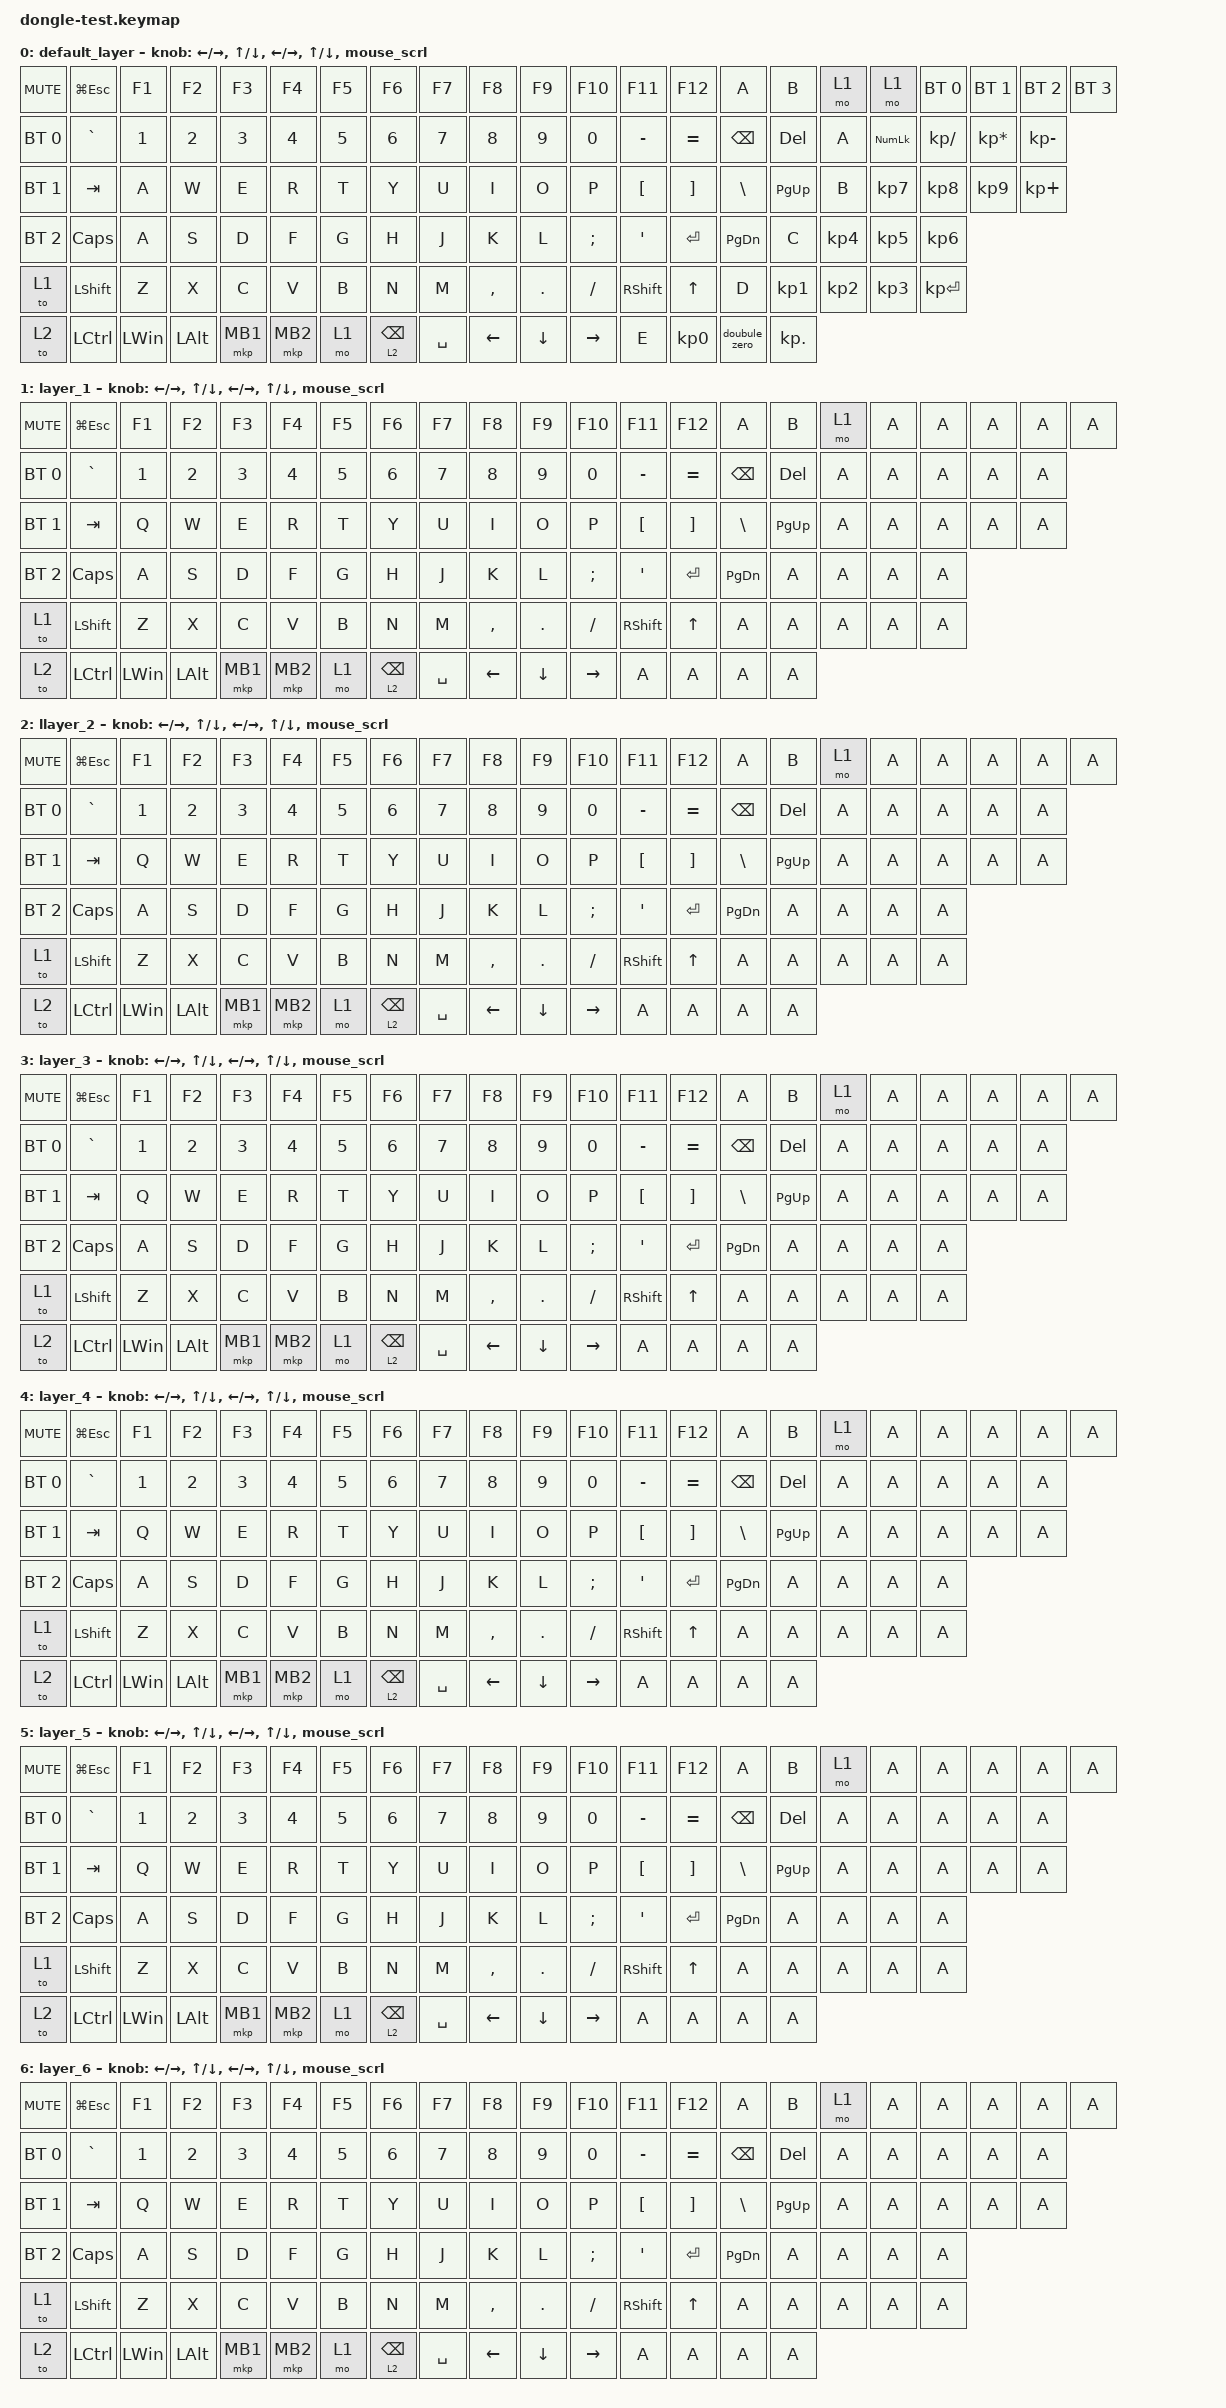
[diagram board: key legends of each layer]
#include <dt-bindings/zmk/mouse.h>
#include <input/processors.dtsi>
#include <dt-bindings/zmk/input_transform.h>
#include <behaviors.dtsi>
#include <dt-bindings/zmk/bt.h>
#include <dt-bindings/zmk/keys.h>
#include <dt-bindings/zmk/pointing.h>

&trackball_listener {
    /* * デフォルトの挙動（以下の条件に当てはまらない時）
     * 3/2 = 1.5倍速。少し加速させる設定です。
     */

    input-processors = <&zip_xy_scaler 3 2>;

    /* Snipe（スナイプ）モード: 精密操作 */

    snipe {
        layers = <3>; // レイヤー3が有効な時
        /* 1/2 = 0.5倍速。通常の半分の速度でゆっくり動かします */

        input-processors = <&zip_xy_scaler 1 2>;
    };

    /* Turbo（ターボ）モード: 高速移動 */

    turbo {
        layers = <2>; // レイヤー2が有効な時
        /* 5/2 = 2.5倍速。かなり速く動かします */

        input-processors = <&zip_xy_scaler 5 2>;
    };

    /* Scroller（スクロール）モード: トラックボールで画面スクロール */

    scroller {
        layers = <4>; // レイヤー4が有効な時
        /* カーソル移動をスクロール操作に変換します（速度は等倍） */

        input-processors = <&zip_xy_to_scroll_mapper>;
    };

    /* Scroller Warp: 高速スクロール */

    scroller_warp {
        layers = <5>; // レイヤー5が有効な時
        /* * 処理は左から順に適用されます。
         * 1. 4/1 = 4倍速にする
         * 2. その値をスクロール操作に変換する
         * 結果：爆速スクロールになります
         */

        input-processors = <&zip_xy_scaler 4 1>, <&zip_xy_to_scroll_mapper>;
    };

    /* Scroller Snipe: 精密スクロール */

    scroller_snipe {
        layers = <6>; // レイヤー6が有効な時
        /* * 1. 1/4 = 0.25倍速にする
         * 2. その値をスクロール操作に変換する
         * 結果：ゆっくり細かいスクロールになります
         */

        input-processors = <&zip_xy_scaler 1 4>, <&zip_xy_to_scroll_mapper>;
    };
};

/ {
    behaviors {
        mouse_scrl: mouse_scroll_sensor {
            compatible = "zmk,behavior-sensor-rotate";
            #sensor-binding-cells = <0>;
            bindings = <&msc SCRL_UP>, <&msc SCRL_DOWN>;

            tap-ms = <20>;
        };
    };

    macros {
        doubule_zero: doubule_zero {
            compatible = "zmk,behavior-macro";
            #binding-cells = <0>;
            bindings = <&kp N0 &kp N0>;
            label = "DOUBULE_ZERO";
        };
    };

    keymap {
        compatible = "zmk,keymap";

        default_layer {
            bindings = <
&kp C_MUTE    &kp LG(ESCAPE)  &kp F1        &kp F2        &kp F3        &kp F4        &kp F5  &kp F6           &kp F7     &kp F8     &kp F9      &kp F10          &kp F11           &kp F12            &kp A          &kp B       &mo 1      &mo 1       &bt BT_SEL 0  &bt BT_SEL 1     &bt BT_SEL 2  &bt BT_SEL 3
&bt BT_SEL 0  &kp GRAVE       &kp NUMBER_1  &kp NUMBER_2  &kp NUMBER_3  &kp NUMBER_4  &kp N5  &kp NUMBER_6     &kp N7     &kp N8     &kp N9      &kp N0           &kp MINUS         &kp EQUAL          &kp BACKSPACE  &kp DEL     &kp A      &kp KP_NUM  &kp KP_SLASH  &kp KP_ASTERISK  &kp KP_MINUS
&bt BT_SEL 1  &kp TAB         &kp A         &kp W         &kp E         &kp R         &kp T   &kp Y            &kp U      &kp I      &kp O       &kp P            &kp LEFT_BRACKET  &kp RIGHT_BRACKET  &kp BACKSLASH  &kp PG_UP   &kp B      &kp KP_N7   &kp KP_N8     &kp KP_N9        &kp KP_PLUS
&bt BT_SEL 2  &kp CAPSLOCK    &kp A         &kp S         &kp D         &kp F         &kp G   &kp H            &kp J      &kp K      &kp L       &kp SEMICOLON    &kp SQT           &kp ENTER          &kp PAGE_DOWN  &kp C       &kp KP_N4  &kp KP_N5   &kp KP_N6
&to 1         &kp LEFT_SHIFT  &kp Z         &kp X         &kp C         &kp V         &kp B   &kp N            &kp M      &kp COMMA  &kp PERIOD  &kp SLASH        &kp RSHIFT        &kp UP_ARROW       &kp D          &kp KP_N1   &kp KP_N2  &kp KP_N3   &kp KP_ENTER
&to 2         &kp LCTRL       &kp LEFT_WIN  &kp LEFT_ALT  &mkp MB1      &mkp MB2      &mo 1   &lt 2 BACKSPACE  &kp SPACE  &kp LEFT   &kp DOWN    &kp RIGHT_ARROW  &kp E             &kp KP_N0          &doubule_zero  &kp KP_DOT
            >;

            sensor-bindings =
                <&inc_dec_kp LEFT_ARROW RIGHT_ARROW>,
                <&inc_dec_kp UP_ARROW DOWN_ARROW>,
                <&inc_dec_kp LEFT_ARROW RIGHT_ARROW>,
                <&inc_dec_kp UP_ARROW DOWN_ARROW>,
                <&mouse_scrl>;
        };

        layer_1 {
            bindings = <
&kp C_MUTE    &kp LG(ESCAPE)  &kp F1        &kp F2        &kp F3        &kp F4        &kp F5  &kp F6           &kp F7     &kp F8     &kp F9      &kp F10          &kp F11           &kp F12            &kp A          &kp B      &mo 1  &kp A  &kp A  &kp A  &kp A  &kp A
&bt BT_SEL 0  &kp GRAVE       &kp NUMBER_1  &kp NUMBER_2  &kp NUMBER_3  &kp NUMBER_4  &kp N5  &kp NUMBER_6     &kp N7     &kp N8     &kp N9      &kp N0           &kp MINUS         &kp EQUAL          &kp BACKSPACE  &kp DEL    &kp A  &kp A  &kp A  &kp A  &kp A
&bt BT_SEL 1  &kp TAB         &kp Q         &kp W         &kp E         &kp R         &kp T   &kp Y            &kp U      &kp I      &kp O       &kp P            &kp LEFT_BRACKET  &kp RIGHT_BRACKET  &kp BACKSLASH  &kp PG_UP  &kp A  &kp A  &kp A  &kp A  &kp A
&bt BT_SEL 2  &kp CAPSLOCK    &kp A         &kp S         &kp D         &kp F         &kp G   &kp H            &kp J      &kp K      &kp L       &kp SEMICOLON    &kp SQT           &kp ENTER          &kp PAGE_DOWN  &kp A      &kp A  &kp A  &kp A
&to 1         &kp LEFT_SHIFT  &kp Z         &kp X         &kp C         &kp V         &kp B   &kp N            &kp M      &kp COMMA  &kp PERIOD  &kp SLASH        &kp RSHIFT        &kp UP_ARROW       &kp A          &kp A      &kp A  &kp A  &kp A
&to 2         &kp LCTRL       &kp LEFT_WIN  &kp LEFT_ALT  &mkp MB1      &mkp MB2      &mo 1   &lt 2 BACKSPACE  &kp SPACE  &kp LEFT   &kp DOWN    &kp RIGHT_ARROW  &kp A             &kp A              &kp A          &kp A
            >;

            sensor-bindings =
                <&inc_dec_kp LEFT_ARROW RIGHT_ARROW>,
                <&inc_dec_kp UP_ARROW DOWN_ARROW>,
                <&inc_dec_kp LEFT_ARROW RIGHT_ARROW>,
                <&inc_dec_kp UP_ARROW DOWN_ARROW>,
                <&mouse_scrl>;
        };

        llayer_2 {
            bindings = <
&kp C_MUTE    &kp LG(ESCAPE)  &kp F1        &kp F2        &kp F3        &kp F4        &kp F5  &kp F6           &kp F7     &kp F8     &kp F9      &kp F10          &kp F11           &kp F12            &kp A          &kp B      &mo 1  &kp A  &kp A  &kp A  &kp A  &kp A
&bt BT_SEL 0  &kp GRAVE       &kp NUMBER_1  &kp NUMBER_2  &kp NUMBER_3  &kp NUMBER_4  &kp N5  &kp NUMBER_6     &kp N7     &kp N8     &kp N9      &kp N0           &kp MINUS         &kp EQUAL          &kp BACKSPACE  &kp DEL    &kp A  &kp A  &kp A  &kp A  &kp A
&bt BT_SEL 1  &kp TAB         &kp Q         &kp W         &kp E         &kp R         &kp T   &kp Y            &kp U      &kp I      &kp O       &kp P            &kp LEFT_BRACKET  &kp RIGHT_BRACKET  &kp BACKSLASH  &kp PG_UP  &kp A  &kp A  &kp A  &kp A  &kp A
&bt BT_SEL 2  &kp CAPSLOCK    &kp A         &kp S         &kp D         &kp F         &kp G   &kp H            &kp J      &kp K      &kp L       &kp SEMICOLON    &kp SQT           &kp ENTER          &kp PAGE_DOWN  &kp A      &kp A  &kp A  &kp A
&to 1         &kp LEFT_SHIFT  &kp Z         &kp X         &kp C         &kp V         &kp B   &kp N            &kp M      &kp COMMA  &kp PERIOD  &kp SLASH        &kp RSHIFT        &kp UP_ARROW       &kp A          &kp A      &kp A  &kp A  &kp A
&to 2         &kp LCTRL       &kp LEFT_WIN  &kp LEFT_ALT  &mkp MB1      &mkp MB2      &mo 1   &lt 2 BACKSPACE  &kp SPACE  &kp LEFT   &kp DOWN    &kp RIGHT_ARROW  &kp A             &kp A              &kp A          &kp A
            >;

            sensor-bindings =
                <&inc_dec_kp LEFT_ARROW RIGHT_ARROW>,
                <&inc_dec_kp UP_ARROW DOWN_ARROW>,
                <&inc_dec_kp LEFT_ARROW RIGHT_ARROW>,
                <&inc_dec_kp UP_ARROW DOWN_ARROW>,
                <&mouse_scrl>;
        };

        layer_3 {
            bindings = <
&kp C_MUTE    &kp LG(ESCAPE)  &kp F1        &kp F2        &kp F3        &kp F4        &kp F5  &kp F6           &kp F7     &kp F8     &kp F9      &kp F10          &kp F11           &kp F12            &kp A          &kp B      &mo 1  &kp A  &kp A  &kp A  &kp A  &kp A
&bt BT_SEL 0  &kp GRAVE       &kp NUMBER_1  &kp NUMBER_2  &kp NUMBER_3  &kp NUMBER_4  &kp N5  &kp NUMBER_6     &kp N7     &kp N8     &kp N9      &kp N0           &kp MINUS         &kp EQUAL          &kp BACKSPACE  &kp DEL    &kp A  &kp A  &kp A  &kp A  &kp A
&bt BT_SEL 1  &kp TAB         &kp Q         &kp W         &kp E         &kp R         &kp T   &kp Y            &kp U      &kp I      &kp O       &kp P            &kp LEFT_BRACKET  &kp RIGHT_BRACKET  &kp BACKSLASH  &kp PG_UP  &kp A  &kp A  &kp A  &kp A  &kp A
&bt BT_SEL 2  &kp CAPSLOCK    &kp A         &kp S         &kp D         &kp F         &kp G   &kp H            &kp J      &kp K      &kp L       &kp SEMICOLON    &kp SQT           &kp ENTER          &kp PAGE_DOWN  &kp A      &kp A  &kp A  &kp A
&to 1         &kp LEFT_SHIFT  &kp Z         &kp X         &kp C         &kp V         &kp B   &kp N            &kp M      &kp COMMA  &kp PERIOD  &kp SLASH        &kp RSHIFT        &kp UP_ARROW       &kp A          &kp A      &kp A  &kp A  &kp A
&to 2         &kp LCTRL       &kp LEFT_WIN  &kp LEFT_ALT  &mkp MB1      &mkp MB2      &mo 1   &lt 2 BACKSPACE  &kp SPACE  &kp LEFT   &kp DOWN    &kp RIGHT_ARROW  &kp A             &kp A              &kp A          &kp A
            >;

            sensor-bindings =
                <&inc_dec_kp LEFT_ARROW RIGHT_ARROW>,
                <&inc_dec_kp UP_ARROW DOWN_ARROW>,
                <&inc_dec_kp LEFT_ARROW RIGHT_ARROW>,
                <&inc_dec_kp UP_ARROW DOWN_ARROW>,
                <&mouse_scrl>;
        };

        layer_4 {
            bindings = <
&kp C_MUTE    &kp LG(ESCAPE)  &kp F1        &kp F2        &kp F3        &kp F4        &kp F5  &kp F6           &kp F7     &kp F8     &kp F9      &kp F10          &kp F11           &kp F12            &kp A          &kp B      &mo 1  &kp A  &kp A  &kp A  &kp A  &kp A
&bt BT_SEL 0  &kp GRAVE       &kp NUMBER_1  &kp NUMBER_2  &kp NUMBER_3  &kp NUMBER_4  &kp N5  &kp NUMBER_6     &kp N7     &kp N8     &kp N9      &kp N0           &kp MINUS         &kp EQUAL          &kp BACKSPACE  &kp DEL    &kp A  &kp A  &kp A  &kp A  &kp A
&bt BT_SEL 1  &kp TAB         &kp Q         &kp W         &kp E         &kp R         &kp T   &kp Y            &kp U      &kp I      &kp O       &kp P            &kp LEFT_BRACKET  &kp RIGHT_BRACKET  &kp BACKSLASH  &kp PG_UP  &kp A  &kp A  &kp A  &kp A  &kp A
&bt BT_SEL 2  &kp CAPSLOCK    &kp A         &kp S         &kp D         &kp F         &kp G   &kp H            &kp J      &kp K      &kp L       &kp SEMICOLON    &kp SQT           &kp ENTER          &kp PAGE_DOWN  &kp A      &kp A  &kp A  &kp A
&to 1         &kp LEFT_SHIFT  &kp Z         &kp X         &kp C         &kp V         &kp B   &kp N            &kp M      &kp COMMA  &kp PERIOD  &kp SLASH        &kp RSHIFT        &kp UP_ARROW       &kp A          &kp A      &kp A  &kp A  &kp A
&to 2         &kp LCTRL       &kp LEFT_WIN  &kp LEFT_ALT  &mkp MB1      &mkp MB2      &mo 1   &lt 2 BACKSPACE  &kp SPACE  &kp LEFT   &kp DOWN    &kp RIGHT_ARROW  &kp A             &kp A              &kp A          &kp A
            >;

            sensor-bindings =
                <&inc_dec_kp LEFT_ARROW RIGHT_ARROW>,
                <&inc_dec_kp UP_ARROW DOWN_ARROW>,
                <&inc_dec_kp LEFT_ARROW RIGHT_ARROW>,
                <&inc_dec_kp UP_ARROW DOWN_ARROW>,
                <&mouse_scrl>;
        };

        layer_5 {
            bindings = <
&kp C_MUTE    &kp LG(ESCAPE)  &kp F1        &kp F2        &kp F3        &kp F4        &kp F5  &kp F6           &kp F7     &kp F8     &kp F9      &kp F10          &kp F11           &kp F12            &kp A          &kp B      &mo 1  &kp A  &kp A  &kp A  &kp A  &kp A
&bt BT_SEL 0  &kp GRAVE       &kp NUMBER_1  &kp NUMBER_2  &kp NUMBER_3  &kp NUMBER_4  &kp N5  &kp NUMBER_6     &kp N7     &kp N8     &kp N9      &kp N0           &kp MINUS         &kp EQUAL          &kp BACKSPACE  &kp DEL    &kp A  &kp A  &kp A  &kp A  &kp A
&bt BT_SEL 1  &kp TAB         &kp Q         &kp W         &kp E         &kp R         &kp T   &kp Y            &kp U      &kp I      &kp O       &kp P            &kp LEFT_BRACKET  &kp RIGHT_BRACKET  &kp BACKSLASH  &kp PG_UP  &kp A  &kp A  &kp A  &kp A  &kp A
&bt BT_SEL 2  &kp CAPSLOCK    &kp A         &kp S         &kp D         &kp F         &kp G   &kp H            &kp J      &kp K      &kp L       &kp SEMICOLON    &kp SQT           &kp ENTER          &kp PAGE_DOWN  &kp A      &kp A  &kp A  &kp A
&to 1         &kp LEFT_SHIFT  &kp Z         &kp X         &kp C         &kp V         &kp B   &kp N            &kp M      &kp COMMA  &kp PERIOD  &kp SLASH        &kp RSHIFT        &kp UP_ARROW       &kp A          &kp A      &kp A  &kp A  &kp A
&to 2         &kp LCTRL       &kp LEFT_WIN  &kp LEFT_ALT  &mkp MB1      &mkp MB2      &mo 1   &lt 2 BACKSPACE  &kp SPACE  &kp LEFT   &kp DOWN    &kp RIGHT_ARROW  &kp A             &kp A              &kp A          &kp A
            >;

            sensor-bindings =
                <&inc_dec_kp LEFT_ARROW RIGHT_ARROW>,
                <&inc_dec_kp UP_ARROW DOWN_ARROW>,
                <&inc_dec_kp LEFT_ARROW RIGHT_ARROW>,
                <&inc_dec_kp UP_ARROW DOWN_ARROW>,
                <&mouse_scrl>;
        };

        layer_6 {
            bindings = <
&kp C_MUTE    &kp LG(ESCAPE)  &kp F1        &kp F2        &kp F3        &kp F4        &kp F5  &kp F6           &kp F7     &kp F8     &kp F9      &kp F10          &kp F11           &kp F12            &kp A          &kp B      &mo 1  &kp A  &kp A  &kp A  &kp A  &kp A
&bt BT_SEL 0  &kp GRAVE       &kp NUMBER_1  &kp NUMBER_2  &kp NUMBER_3  &kp NUMBER_4  &kp N5  &kp NUMBER_6     &kp N7     &kp N8     &kp N9      &kp N0           &kp MINUS         &kp EQUAL          &kp BACKSPACE  &kp DEL    &kp A  &kp A  &kp A  &kp A  &kp A
&bt BT_SEL 1  &kp TAB         &kp Q         &kp W         &kp E         &kp R         &kp T   &kp Y            &kp U      &kp I      &kp O       &kp P            &kp LEFT_BRACKET  &kp RIGHT_BRACKET  &kp BACKSLASH  &kp PG_UP  &kp A  &kp A  &kp A  &kp A  &kp A
&bt BT_SEL 2  &kp CAPSLOCK    &kp A         &kp S         &kp D         &kp F         &kp G   &kp H            &kp J      &kp K      &kp L       &kp SEMICOLON    &kp SQT           &kp ENTER          &kp PAGE_DOWN  &kp A      &kp A  &kp A  &kp A
&to 1         &kp LEFT_SHIFT  &kp Z         &kp X         &kp C         &kp V         &kp B   &kp N            &kp M      &kp COMMA  &kp PERIOD  &kp SLASH        &kp RSHIFT        &kp UP_ARROW       &kp A          &kp A      &kp A  &kp A  &kp A
&to 2         &kp LCTRL       &kp LEFT_WIN  &kp LEFT_ALT  &mkp MB1      &mkp MB2      &mo 1   &lt 2 BACKSPACE  &kp SPACE  &kp LEFT   &kp DOWN    &kp RIGHT_ARROW  &kp A             &kp A              &kp A          &kp A
            >;

            sensor-bindings =
                <&inc_dec_kp LEFT_ARROW RIGHT_ARROW>,
                <&inc_dec_kp UP_ARROW DOWN_ARROW>,
                <&inc_dec_kp LEFT_ARROW RIGHT_ARROW>,
                <&inc_dec_kp UP_ARROW DOWN_ARROW>,
                <&mouse_scrl>;
        };
    };
};
